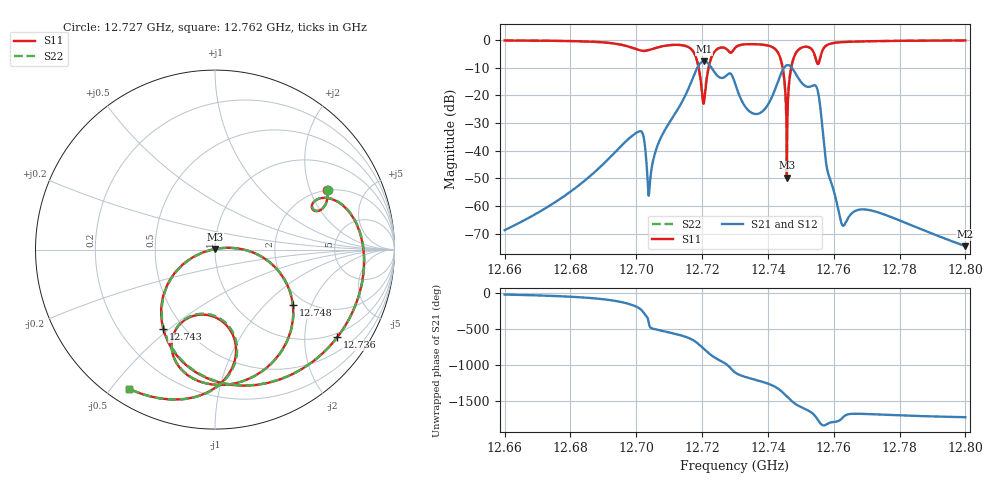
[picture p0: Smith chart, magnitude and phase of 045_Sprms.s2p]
! TOUCHSTONE file generated by CST MICROWAVE STUDIO
! Date and time: Wed Jul 31 12:56:37 2024
! Project name: WaveGuide_BPF-Ver4.1_U-shape_Ku_T3_C4_CWA_2.cst
! Parameters = {cavity_h=16; cavity_l0=10; cavity_l1=15.1976; cavity_l2=16.8833; cavity_l3=17.0781; cavity_l4=17.2636; cavity_l5=17.0892; cavity_l6=17.6375; cavity_r=2.5; cavity_screw_l=0.5; cavity_screw_r=1.5; cavity_w=8; iris_h00=0; iris_h01=8.8184; iris_h112=0; iris_h12=5.5931; iris_h211=3.6516; 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
! Header version: 2018
! Port assignment regex: !\s*Touchstone port\s*([0-9]+)\s*=\s*(CST MWS port|CST DS port)\s*([0-9]+|Zmin|Zmax)\s*\(\"(.*)\"\)(\s*mode\s*([0-9]+))?.*
! Touchstone port assignment:
! Touchstone port 1 = CST MWS port 1 ("")
! Touchstone port 2 = CST MWS port 2 ("")
# GHz S RI R 50
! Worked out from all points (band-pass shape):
!   5001 points, 12.66 GHz to 12.8 GHz, reference 50 ohm
!   highest |S21| = -7.70 dB at 12.721 GHz (marker M1); lowest = -74.4 dB at 12.8 GHz (marker M2)
!   |S21| within 3 dB of the highest: 12.71827 GHz to 12.72323 GHz (4.963 MHz wide, 0.039 % of centre); 12.74455 GHz to 12.74767 GHz (3.121 MHz wide, 0.0245 % of centre)
!   lowest |S11| = -49.8 dB at 12.746 GHz (marker M3), VSWR 1.01, Z = 50 + j0.322 ohm
!   |S11| at or under -10 dB: 12.71896 GHz to 12.72198 GHz (3.023 MHz wide, 0.0238 % of centre); 12.74448 GHz to 12.74708 GHz (2.598 MHz wide, 0.0204 % of centre)
!   |S22| runs from -48.3 to -0.2 dB; largest |S21 - S12| = 1e-09
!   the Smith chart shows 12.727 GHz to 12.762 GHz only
!   S11 on the Smith chart (normalised r, x): 12.727 GHz: 1.99, +2.66; 12.736 GHz: 0.87, -2.87; 12.743 GHz: 0.39, -0.48; 12.748 GHz: 1.73, -1.48; 12.762 GHz: 0.06, -0.56
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12.66  0.3259 0.9243  0.000337 -0.00015  0.000337 -0.00015  0.3273 0.9239
12.68335  0.7794 0.5349  0.00117 -0.00231  0.00117 -0.00231  0.7786 0.5368
12.69371  0.8373 -0.1792  -0.0037 -0.00887  -0.0037 -0.00887  0.8391 -0.174
12.69948  0.108 -0.6915  -0.02 0.000395  -0.02 0.000395  0.1126 -0.6902
12.70194  -0.4183 -0.4798  -0.00456 0.02  -0.00456 0.02  -0.4161 -0.4795
12.7039  -0.6564 -0.082  0.000261 -0.00171  0.000261 -0.00171  -0.6554 -0.0805
12.70668  -0.5385 0.5054  -0.012 -0.00587  -0.012 -0.00587  -0.536 0.5081
12.71107  0.0974 0.8086  -0.0374 0.0139  -0.0374 0.0139  0.1001 0.809
12.71583  0.629 0.3988  -0.0155 0.1305  -0.0155 0.1305  0.6295 0.3989
12.72059  0.0366 0.0658  0.2179 -0.3497  0.2179 -0.3497  0.033 0.0758
12.72314  0.0815 0.525  -0.2703 -0.1236  -0.2703 -0.1236  0.0898 0.53
12.72706  0.6263 0.3326  -0.0428 0.2145  -0.0428 0.2145  0.6283 0.3337
12.73  0.6596 0.2779  0.1545 -0.0598  0.1545 -0.0598  0.6614 0.2792
12.73641  0.6807 -0.4888  -0.0275 -0.0369  -0.0275 -0.0369  0.6844 -0.4846
12.74347  -0.2879 -0.443  -0.0414 0.2023  -0.0414 0.2023  -0.2851 -0.4406
12.74576  -0.000419 0.00322  0.3492 0.0321  0.3492 0.0321  0.00917 0.00421
12.74817  0.4333 -0.3077  -0.00669 -0.2612  -0.00669 -0.2612  0.4352 -0.3124
12.75335  -0.2072 -0.6434  -0.1121 0.0966  -0.1121 0.0966  -0.2087 -0.6389
12.75646  0.1118 -0.6107  0.0265 -0.0141  0.0265 -0.0141  0.1168 -0.6113
12.7622  -0.4801 -0.775  0.000344 0.0004  0.000344 0.0004  -0.478 -0.776
12.77668  -0.9218 -0.2704  -0.000221 0.000624  -0.000221 0.000624  -0.922 -0.2692
12.8  -0.9503 0.242  3.76e-05 0.000186  3.76e-05 0.000186  -0.9494 0.2453
